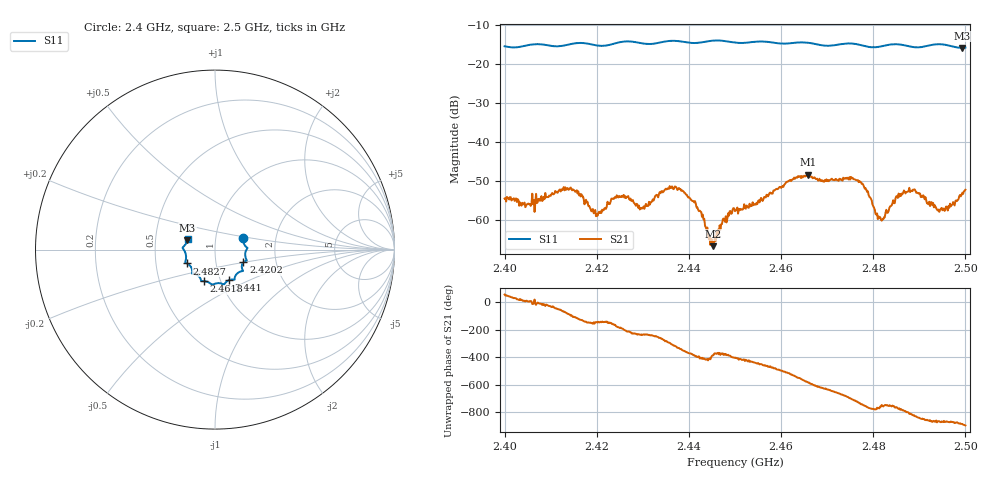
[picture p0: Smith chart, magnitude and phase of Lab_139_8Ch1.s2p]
# Hz S RI R 50
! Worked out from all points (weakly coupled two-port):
!   601 points, 2.4 GHz to 2.5 GHz, reference 50 ohm
!   highest |S21| = -48.25 dB at 2.4658 GHz (marker M1); lowest = -66.6 dB at 2.4452 GHz (marker M2)
!   lowest |S11| = -15.8 dB at 2.4993 GHz (marker M3), VSWR 1.39, Z = 36.5 + j3.85 ohm
!   |S11| at or under -10 dB: start of sweep to end of sweep
!   S12 and S22 are empty: the file has one direction only
!   S11 on the Smith chart (normalised r, x): 2.4 GHz: 1.36, +0.18; 2.4202 GHz: 1.36, -0.20; 2.441 GHz: 1.10, -0.39; 2.4618 GHz: 0.84, -0.30; 2.4827 GHz: 0.72, -0.11; 2.5 GHz: 0.73, +0.09
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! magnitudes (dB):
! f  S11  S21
! 2.4 GHz  -15.4  -54.4
! 2.4132 GHz  -15.2  -51.5
! 2.4167 GHz  -14.5  -53.3
! 2.4202 GHz  -15.2  -58.8
! 2.4243 GHz  -14.5  -53.6
! 2.4298 GHz  -14.6  -56.8
! 2.4333 GHz  -14.5  -54.1
! 2.4368 GHz  -14.0  -51.6
! 2.441 GHz  -14.6  -55.1
! 2.4452 GHz  -14.0  -66.6
! 2.45 GHz  -14.4  -57.6
! 2.4618 GHz  -14.6  -49.8
! 2.4658 GHz  -14.5  -48.3
! 2.4667 GHz  -14.6  -48.8
! 2.4768 GHz  -15.0  -50.2
! 2.481 GHz  -15.6  -59.7
! 2.4827 GHz  -15.2  -58.0
! 2.4833 GHz  -15.0  -57.6
! 2.4883 GHz  -15.5  -52.3
! 2.4942 GHz  -14.9  -57.2
! 2.4993 GHz  -15.8  -52.9
! 2.5 GHz  -15.7  -52.1
